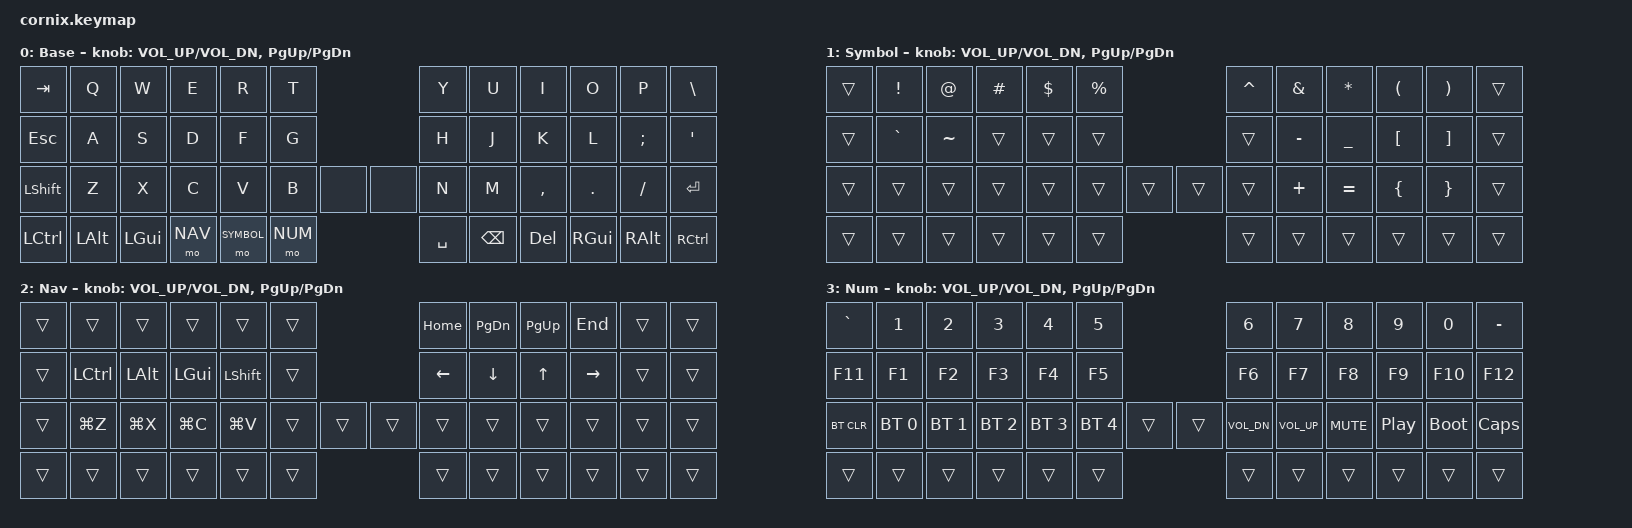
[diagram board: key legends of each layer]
/*
 * Copyright (c) 2020 The ZMK Contributors
 *
 * SPDX-License-Identifier: MIT
 */

#include "zmk-helpers/helper.h"
#include "includes/cornix54.h"
#include <behaviors.dtsi>
#include <dt-bindings/zmk/bt.h>
#include <dt-bindings/zmk/keys.h>

// Layer definitions
#define BASE   0
#define SYMBOL 1
#define NAV    2
#define NUM    3

/ {
    keymap {
        compatible = "zmk,keymap";

        // Layer 0: BASE (기본 타이핑)
        // ╭──────┬──────┬──────┬──────┬──────┬──────╮               ╭──────┬──────┬──────┬──────┬──────┬──────╮
        // │ TAB  │  Q   │  W   │  E   │  R   │  T   │               │  Y   │  U   │  I   │  O   │  P   │  \   │
        // │  0   │  1   │  2   │  3   │  4   │  5   │               │  6   │  7   │  8   │  9   │ 10   │ 11   │
        // ├──────┼──────┼──────┼──────┼──────┼──────┤               ├──────┼──────┼──────┼──────┼──────┼──────┤
        // │ ESC  │  A   │  S   │  D   │  F   │  G   │               │  H   │  J   │  K   │  L   │  ;   │  '   │
        // │ 12   │ 13   │ 14   │ 15   │ 16   │ 17   │               │ 18   │ 19   │ 20   │ 21   │ 22   │ 23   │
        // ├──────┼──────┼──────┼──────┼──────┼──────┼──────┬──────┼──────┼──────┼──────┼──────┼──────┼──────┤
        // │SHIFT │  Z   │  X   │  C   │  V   │  B   │ ---- │ ---- │  N   │  M   │  ,   │  .   │  /   │ENTER │
        // │ 24   │ 25   │ 26   │ 27   │ 28   │ 29   │  30  │  31  │ 32   │ 33   │ 34   │ 35   │ 36   │ 37   │
        // ├──────┼──────┼──────┼──────┴──────┴──────┤      │      ├──────┴──────┴──────┼──────┼──────┼──────┤
        // │ CTRL │ ALT  │ CMD  │L:NAV │L:SYM │L:NUM │      │      │SPACE │ BSPC │ DEL  │ CMD  │ ALT  │ CTRL │
        // │ 38   │ 39   │ 40   │  41  │  42  │  43  │      │      │  44  │  45  │  46  │  47  │  48  │  49  │
        // ╰──────┴──────┴──────┴──────┴──────┴──────╯      ╰──────┴──────┴──────┴──────┴──────┴──────╯──────╯

        default_layer {
            display-name = "Base";
            bindings = <
&kp TAB    &kp Q  &kp W  &kp E  &kp R  &kp T                    &kp Y      &kp U     &kp I    &kp O    &kp P     &kp BSLH
&kp ESC    &kp A  &kp S  &kp D  &kp F  &kp G                    &kp H      &kp J     &kp K    &kp L    &kp SEMI  &kp SQT
&kp LSHFT  &kp Z  &kp X  &kp C  &kp V  &kp B      &none  &none  &kp N      &kp M     &kp COMMA &kp DOT &kp FSLH  &kp ENTER
&kp LCTRL  &kp LALT &kp LGUI  &mo NAV  &mo SYMBOL  &mo NUM      &kp SPACE  &kp BSPC  &kp DEL  &kp RGUI &kp RALT  &kp RCTRL
            >;
            sensor-bindings = <&inc_dec_kp C_VOL_UP C_VOL_DN &inc_dec_kp PG_UP PG_DN>;
        };

        // Layer 1: SYMBOL (프로그래밍 기호)
        // ╭──────┬──────┬──────┬──────┬──────┬──────╮               ╭──────┬──────┬──────┬──────┬──────┬──────╮
        // │ trans│  !   │  @   │  #   │  $   │  %   │               │  ^   │  &   │  *   │  (   │  )   │ trans│
        // ├──────┼──────┼──────┼──────┼──────┼──────┤               ├──────┼──────┼──────┼──────┼──────┼──────┤
        // │ trans│  `   │  ~   │ trans│ trans│ trans│               │ trans│  -   │  _   │  [   │  ]   │ trans│
        // ├──────┼──────┼──────┼──────┼──────┼──────┼──────┬──────┼──────┼──────┼──────┼──────┼──────┼──────┤
        // │ trans│ trans│ trans│ trans│ trans│ trans│ trans│ trans│ trans│  +   │  =   │  {   │  }   │ trans│
        // ├──────┼──────┼──────┼──────┴──────┴──────┤      │      ├──────┴──────┴──────┼──────┼──────┼──────┤
        // │ trans│ trans│ trans│ trans│ ▓▓▓▓ │ trans│      │      │ trans│ trans│ trans│ trans│ trans│ trans│
        // ╰──────┴──────┴──────┴──────┴──────┴──────╯      ╰──────┴──────┴──────┴──────┴──────╯──────╯

        symbol_layer {
            display-name = "Symbol";
            bindings = <
&trans  &kp EXCL   &kp AT     &kp HASH  &kp DLLR  &kp PRCNT                  &kp CARET  &kp AMPS   &kp ASTRK  &kp LPAR  &kp RPAR  &trans
&trans  &kp GRAVE  &kp TILDE  &trans    &trans    &trans                     &trans     &kp MINUS  &kp UNDER  &kp LBKT  &kp RBKT  &trans
&trans  &trans     &trans     &trans    &trans    &trans     &trans  &trans  &trans     &kp PLUS   &kp EQUAL  &kp LBRC  &kp RBRC  &trans
&trans  &trans     &trans     &trans    &trans    &trans                     &trans     &trans     &trans     &trans    &trans    &trans
            >;
            sensor-bindings = <&inc_dec_kp C_VOL_UP C_VOL_DN &inc_dec_kp PG_UP PG_DN>;
        };

        // Layer 2: NAV (네비게이션 - Vim HJKL)
        // ╭──────┬──────┬──────┬──────┬──────┬──────╮               ╭──────┬──────┬──────┬──────┬──────┬──────╮
        // │ trans│ trans│ trans│ trans│ trans│ trans│               │ HOME │ PGDN │ PGUP │ END  │ trans│ trans│
        // ├──────┼──────┼──────┼──────┼──────┼──────┤               ├──────┼──────┼──────┼──────┼──────┼──────┤
        // │ trans│ CTRL │ ALT  │ CMD  │SHIFT │ trans│               │  ←   │  ↓   │  ↑   │  →   │ trans│ trans│
        // ├──────┼──────┼──────┼──────┼──────┼──────┼──────┬──────┼──────┼──────┼──────┼──────┼──────┼──────┤
        // │ trans│ UNDO │ CUT  │ COPY │PASTE │ trans│ trans│ trans│ trans│ trans│ trans│ trans│ trans│ trans│
        // ├──────┼──────┼──────┼──────┴──────┴──────┤      │      ├──────┴──────┴──────┼──────┼──────┼──────┤
        // │ trans│ trans│ trans│ ▓▓▓▓ │ trans│ trans│      │      │ trans│ trans│ trans│ trans│ trans│ trans│
        // ╰──────┴──────┴──────┴──────┴──────┴──────╯      ╰──────┴──────┴──────┴──────┴──────╯──────╯

        nav_layer {
            display-name = "Nav";
            bindings = <
&trans  &trans     &trans    &trans    &trans     &trans                     &kp HOME  &kp PG_DN  &kp PG_UP  &kp END    &trans  &trans
&trans  &kp LCTRL  &kp LALT  &kp LGUI  &kp LSHFT  &trans                     &kp LEFT  &kp DOWN   &kp UP     &kp RIGHT  &trans  &trans
&trans  &kp LG(Z)  &kp LG(X) &kp LG(C) &kp LG(V)  &trans     &trans  &trans  &trans    &trans     &trans     &trans     &trans  &trans
&trans  &trans     &trans    &trans    &trans     &trans                     &trans    &trans     &trans     &trans     &trans  &trans
            >;
            sensor-bindings = <&inc_dec_kp C_VOL_UP C_VOL_DN &inc_dec_kp PG_UP PG_DN>;
        };

        // Layer 3: NUM (숫자 + F키 + 시스템)
        // ╭──────┬──────┬──────┬──────┬──────┬──────╮               ╭──────┬──────┬──────┬──────┬──────┬──────╮
        // │  `   │  1   │  2   │  3   │  4   │  5   │               │  6   │  7   │  8   │  9   │  0   │  -   │
        // ├──────┼──────┼──────┼──────┼──────┼──────┤               ├──────┼──────┼──────┼──────┼──────┼──────┤
        // │ F11  │  F1  │  F2  │  F3  │  F4  │  F5  │               │  F6  │  F7  │  F8  │  F9  │ F10  │ F12  │
        // ├──────┼──────┼──────┼──────┼──────┼──────┼──────┬──────┼──────┼──────┼──────┼──────┼──────┼──────┤
        // │BTCLR │ BT1  │ BT2  │ BT3  │ BT4  │ BT5  │ trans│ trans│ VOL- │ VOL+ │ MUTE │ PLAY │ BOOT │ CAPS │
        // ├──────┼──────┼──────┼──────┴──────┴──────┤      │      ├──────┴──────┴──────┼──────┼──────┼──────┤
        // │ trans│ trans│ trans│ trans│ trans│ ▓▓▓▓ │      │      │ trans│ trans│ trans│ trans│ trans│ trans│
        // ╰──────┴──────┴──────┴──────┴──────┴──────╯      ╰──────┴──────┴──────┴──────┴──────╯──────╯

        num_layer {
            display-name = "Num";
            bindings = <
&kp GRAVE   &kp N1        &kp N2        &kp N3        &kp N4        &kp N5                          &kp N6        &kp N7        &kp N8      &kp N9      &kp N0       &kp MINUS
&kp F11     &kp F1        &kp F2        &kp F3        &kp F4        &kp F5                          &kp F6        &kp F7        &kp F8      &kp F9      &kp F10      &kp F12
&bt BT_CLR  &bt BT_SEL 0  &bt BT_SEL 1  &bt BT_SEL 2  &bt BT_SEL 3  &bt BT_SEL 4    &trans  &trans  &kp C_VOL_DN  &kp C_VOL_UP  &kp C_MUTE  &kp C_PP    &bootloader  &kp CAPS
&trans      &trans        &trans        &trans        &trans        &trans                          &trans        &trans        &trans      &trans      &trans       &trans
            >;
            sensor-bindings = <&inc_dec_kp C_VOL_UP C_VOL_DN &inc_dec_kp PG_UP PG_DN>;
        };
    };
};
